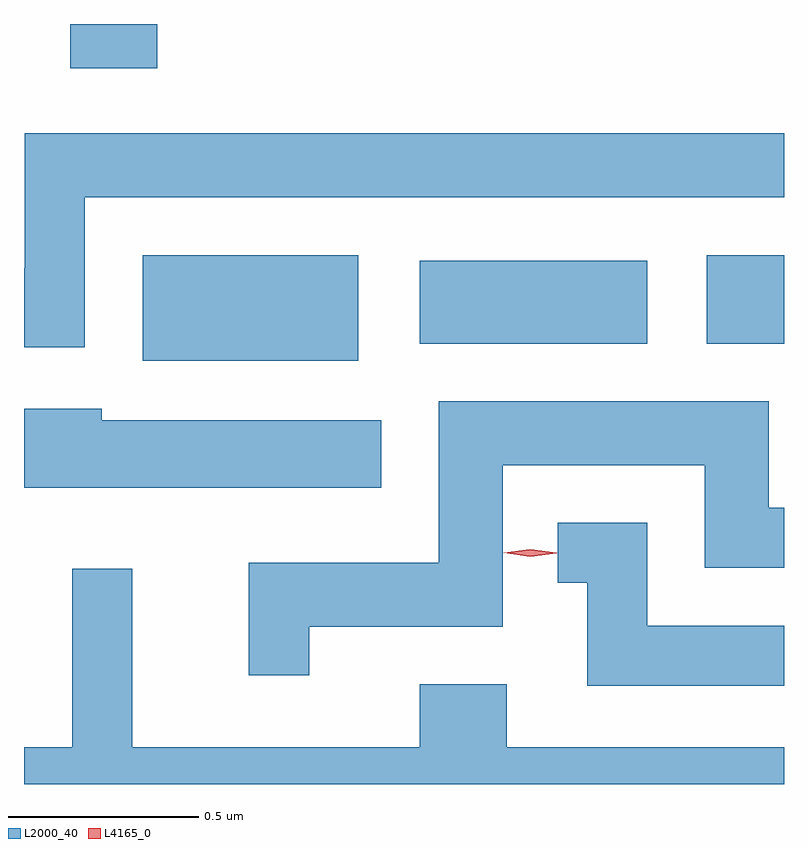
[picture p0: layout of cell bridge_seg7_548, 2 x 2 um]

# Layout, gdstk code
import gdstk
lib = gdstk.Library(unit=1e-6, precision=1e-09)
def R(c, l, rs):  # rectangles x0, y0, x1, y1
    for r in rs: c.add(gdstk.rectangle(r[:2], r[2:], *l))
def P(c, l, *ps):  # polygons
    for p in ps: c.add(gdstk.Polygon(p, *l))
L2000_40 = (2000, 40)
L4165_0 = (4165, 0)

bridge_seg7_548 = lib.new_cell('bridge_seg7_548')
R(bridge_seg7_548, L2000_40, [(897.171,1760.001,897.739,1760.279), (897.901,1760.046,898.499,1760.264), (898.656,1760.046,898.859,1760.279), (896.981,1760.771,897.209,1760.887)])
P(bridge_seg7_548, L2000_40, [(897.019,1760.431),(898.859,1760.431),(898.859,1760.599),(896.861,1760.599),(896.861,1760.244),(896.859,1760.244),(896.859,1760.036),(897.019,1760.036)],
  [(897.609,1759.301),(898.119,1759.301),(898.119,1759.726),(898.651,1759.726),(898.651,1759.456),(898.859,1759.456),(898.859,1759.614),(898.819,1759.614),(898.819,1759.894),(897.951,1759.894),(897.951,1759.469),(897.451,1759.469),(897.451,1759.173),(897.609,1759.173)],
  [(897.799,1759.844),(897.064,1759.844),(897.064,1759.874),(896.859,1759.874),(896.859,1759.666),(897.799,1759.666)],
  [(898.859,1759.304),(898.499,1759.304),(898.499,1759.574),(898.263,1759.574),(898.263,1759.416),(898.341,1759.416),(898.341,1759.146),(898.859,1759.146)],
  [(898.859,1758.984),(898.129,1758.984),(898.129,1759.149),(897.901,1759.149),(897.901,1758.984),(897.144,1758.984),(897.144,1759.453),(896.986,1759.453),(896.986,1758.984),(896.859,1758.984),(896.859,1758.887),(898.859,1758.887)])
P(bridge_seg7_548, L4165_0, [(898.191,1759.485),(898.122,1759.495),(898.122,1759.495),(898.122,1759.496),(898.191,1759.505),(898.261,1759.495),(898.261,1759.495),(898.261,1759.494)])

lib.write_gds('bridge_seg7_548.gds')
